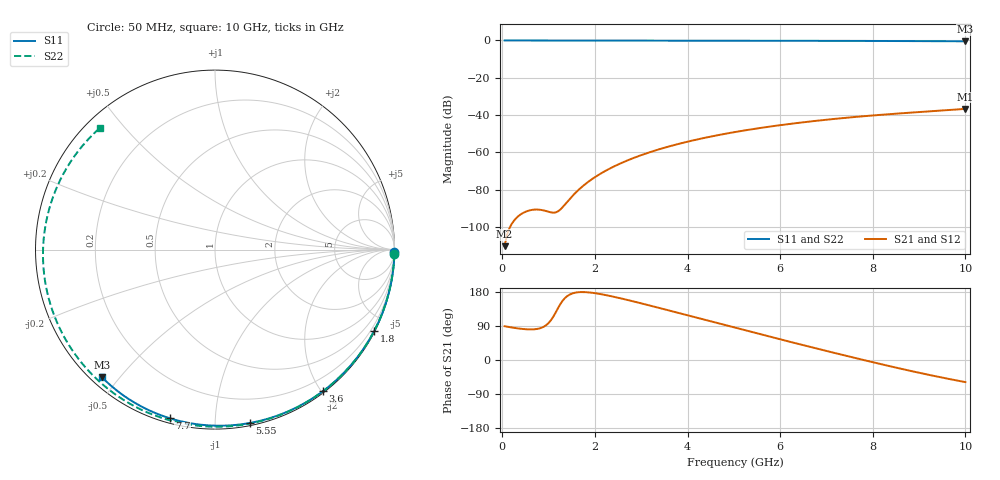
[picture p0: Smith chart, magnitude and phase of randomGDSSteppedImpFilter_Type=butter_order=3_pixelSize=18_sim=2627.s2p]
! freq	dB(S11)	phase(S11)	dB(S12)	phase(S12)
!  dB(S21)	phase(S21)	dB(S22)	phase(S22)
!S-par simulation data
#  GHz  S  DB  R 50
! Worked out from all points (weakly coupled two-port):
!   200 points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, 50 MHz to 10 GHz, reference 50 ohm
!   highest |S21| = -36.70 dB at 10 GHz (marker M1); lowest = -110.4 dB at 50 MHz (marker M2)
!   lowest |S11| = -0.4 dB at 10 GHz (marker M3), VSWR 39.02, Z = 1.54 - j22.5 ohm
!   |S11| at or under -10 dB: nowhere
!   |S22| runs from -0.6 to 0.0 dB; largest |S21 - S12| = 0
!   S11 on the Smith chart (normalised r, x): 50 MHz: open; 1.8 GHz: 0.04, -4.18; 3.6 GHz: 0.02, -2.02; 5.55 GHz: 0.02, -1.22; 7.7 GHz: 0.02, -0.77; 10 GHz: 0.03, -0.45
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0.05  -0.00 -0.8  -110.37 89.2  -110.37 89.2  -0.00 -1.4
0.4  -0.01 -6.1  -93.27 82.4  -93.27 82.4  -0.02 -11.1
0.8  -0.02 -12.1  -90.78 83.2  -90.78 83.2  -0.03 -22.1
1.2  -0.02 -18.1  -91.74 136.2  -91.74 136.2  -0.04 -32.9
1.65  -0.03 -24.7  -80.08 178.9  -80.08 178.9  -0.06 -44.9
1.75  -0.03 -26.2  -77.91 179.3  -77.91 179.3  -0.06 -47.5
1.8  -0.03 -26.9  -76.91 179.0  -76.91 179.0  -0.06 -48.8
2.1  -0.04 -31.3  -71.79 174.4  -71.79 174.4  -0.07 -56.5
2.5  -0.05 -37.1  -66.56 164.3  -66.56 164.3  -0.08 -66.5
2.9  -0.06 -42.8  -62.44 152.6  -62.44 152.6  -0.10 -76.3
3.4  -0.07 -49.9  -58.29 137.0  -58.29 137.0  -0.11 -88.1
3.6  -0.07 -52.7  -56.86 130.7  -56.86 130.7  -0.12 -92.7
4.3  -0.09 -62.2  -52.61 108.2  -52.61 108.2  -0.15 -108.3
5.05  -0.11 -72.2  -49.02 84.3  -49.02 84.3  -0.18 -124.2
5.55  -0.13 -78.7  -47.03 68.6  -47.03 68.6  -0.21 -134.5
6.15  -0.15 -86.3  -44.97 49.9  -44.97 49.9  -0.24 -146.7
6.7  -0.18 -93.1  -43.33 33.0  -43.33 33.0  -0.28 -157.6
7.2  -0.21 -99.1  -42.02 17.9  -42.02 17.9  -0.32 -167.5
7.7  -0.24 -105.1  -40.86 2.9  -40.86 2.9  -0.36 -177.5
8.35  -0.29 -112.7  -39.56 -15.9  -39.56 -15.9  -0.42 169.3
9.15  -0.36 -121.9  -38.17 -37.6  -38.17 -37.6  -0.50 152.5
10  -0.45 -131.5  -36.70 -58.3  -36.70 -58.3  -0.60 133.6
